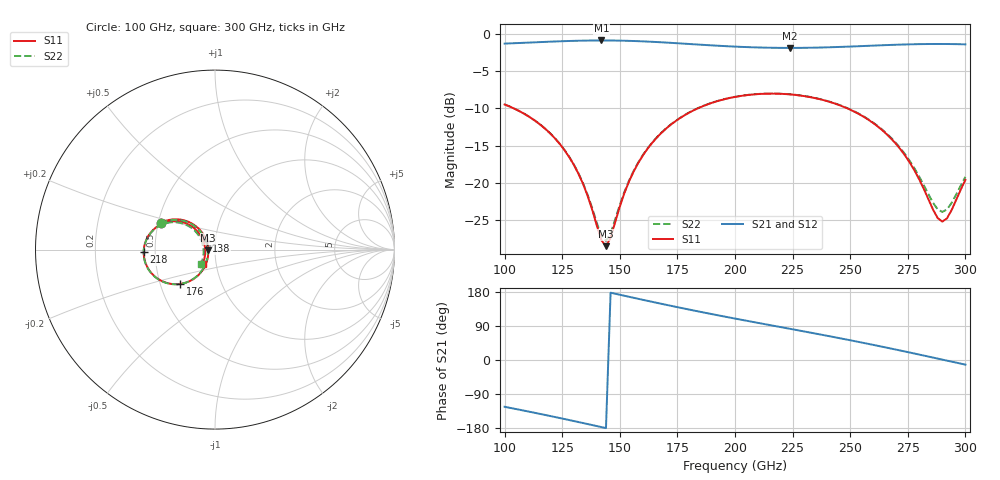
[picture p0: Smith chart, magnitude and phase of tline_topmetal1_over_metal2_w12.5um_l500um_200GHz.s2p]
#  GHZ S DB R 50
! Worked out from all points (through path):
!   101 points, 100 GHz to 300 GHz, reference 50 ohm
!   highest |S21| = -0.87 dB at 142 GHz (marker M1); lowest = -1.9 dB at 224 GHz (marker M2)
!   group delay of S21, straight-line fit = 3.41 ps
!   lowest |S11| = -28.5 dB at 144 GHz (marker M3), VSWR 1.08, Z = 46.4 - j0.351 ohm
!   |S11| at or under -10 dB: 104.1 GHz to 183.8 GHz (79.67 GHz wide, 55.4 % of centre); 248.8 GHz to end of sweep
!   |S22| runs from -27.8 to -8.0 dB; largest |S21 - S12| = 1e-14
!   S11 on the Smith chart (normalised r, x): 100 GHz: 0.52, +0.17; 138 GHz: 0.91, +0.08; 176 GHz: 0.63, -0.26; 218 GHz: 0.43, -0.01; 300 GHz: 0.86, -0.14
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100  -9.46 153.7  -1.29 -123.5  -1.29 -123.5  -9.46 154.3
120  -13.42 133.6  -1.03 -148.1  -1.03 -148.1  -13.40 134.6
128  -16.51 128.0  -0.94 -158.4  -0.94 -158.4  -16.47 129.4
134  -20.10 128.1  -0.89 -166.3  -0.89 -166.3  -20.01 130.1
138  -23.58 135.2  -0.87 -171.7  -0.87 -171.7  -23.36 137.8
142  -27.70 161.1  -0.87 -177.0  -0.87 -177.0  -27.12 163.4
144  -28.49 -174.2  -0.87 -179.7  -0.87 -179.7  -27.79 -173.9
146  -27.35 -150.8  -0.87 177.6  -0.87 177.6  -26.78 -152.1
156  -18.47 -121.0  -0.94 164.2  -0.94 164.2  -18.38 -122.0
168  -13.30 -127.7  -1.11 148.4  -1.11 148.4  -13.27 -128.0
176  -11.32 -135.3  -1.26 138.2  -1.26 138.2  -11.29 -135.4
200  -8.45 -159.9  -1.69 109.4  -1.69 109.4  -8.43 -159.6
218  -8.01 -178.1  -1.85 88.9  -1.85 88.9  -8.00 -177.5
224  -8.11 176.0  -1.87 82.1  -1.87 82.1  -8.10 176.7
234  -8.56 166.1  -1.83 70.8  -1.83 70.8  -8.54 167.0
254  -10.78 147.0  -1.63 47.3  -1.63 47.3  -10.74 148.4
268  -14.12 136.0  -1.46 29.8  -1.46 29.8  -14.02 138.4
276  -17.33 134.1  -1.39 19.5  -1.39 19.5  -17.11 137.4
286  -23.61 154.4  -1.34 6.3  -1.34 6.3  -22.69 158.5
290  -25.19 -177.3  -1.34 1.0  -1.34 1.0  -23.90 -176.9
294  -23.66 -148.9  -1.35 -4.3  -1.35 -4.3  -22.69 -152.3
300  -19.60 -131.0  -1.39 -12.2  -1.39 -12.2  -19.19 -134.7
